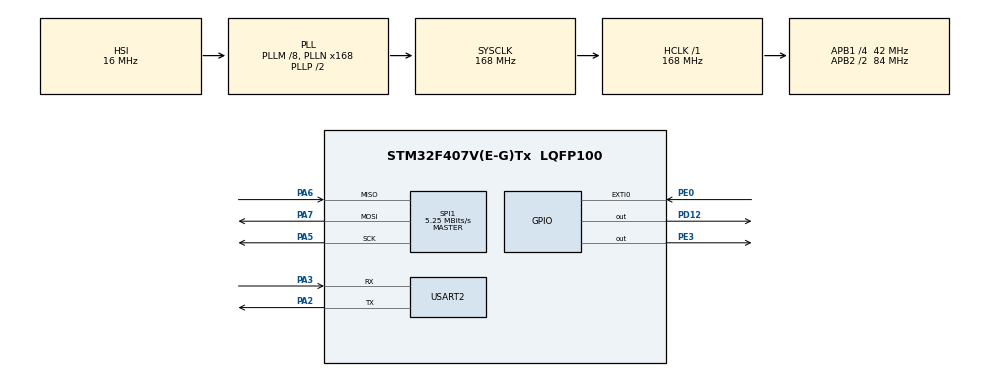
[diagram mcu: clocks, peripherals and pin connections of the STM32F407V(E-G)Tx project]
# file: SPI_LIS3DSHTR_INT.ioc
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Mcu.Family=STM32F4
Mcu.Name=STM32F407V(E-G)Tx
Mcu.Package=LQFP100
NVIC.EXTI0_IRQn=true\:0\:0\:false\:false\:true\:true\:true\:true
NVIC.PriorityGroup=NVIC_PRIORITYGROUP_4
PA2.Mode=Asynchronous
PA2.Signal=USART2_TX
PA3.Mode=Asynchronous
PA3.Signal=USART2_RX
PA5.Mode=Full_Duplex_Master
PA5.Signal=SPI1_SCK
PA6.Mode=Full_Duplex_Master
PA6.Signal=SPI1_MISO
PA7.Mode=Full_Duplex_Master
PA7.Signal=SPI1_MOSI
PD12.Signal=GPIO_Output
PE0.Signal=GPXTI0
PE3.Signal=GPIO_Output
ProjectManager.HeapSize=0x200
ProjectManager.StackSize=0x400
ProjectManager.TargetToolchain=STM32CubeIDE
RCC.48MHZClocksFreq_Value=84000000
RCC.AHBFreq_Value=168000000
RCC.APB1CLKDivider=RCC_HCLK_DIV4
RCC.APB1Freq_Value=42000000
RCC.APB1TimFreq_Value=84000000
RCC.APB2CLKDivider=RCC_HCLK_DIV2
RCC.APB2Freq_Value=84000000
RCC.APB2TimFreq_Value=168000000
RCC.CortexFreq_Value=168000000
RCC.HCLKFreq_Value=168000000
RCC.HSE_VALUE=25000000
RCC.HSI_VALUE=16000000
RCC.LSE_VALUE=32768
RCC.PLLM=8
RCC.PLLN=168
RCC.SYSCLKFreq_VALUE=168000000
RCC.SYSCLKSource=RCC_SYSCLKSOURCE_PLLCLK
RCC.VCOOutputFreq_Value=336000000
SPI1.BaudRatePrescaler=SPI_BAUDRATEPRESCALER_16
SPI1.CLKPhase=SPI_PHASE_2EDGE
SPI1.CLKPolarity=SPI_POLARITY_HIGH
SPI1.CalculateBaudRate=5.25 MBits/s
SPI1.Direction=SPI_DIRECTION_2LINES
SPI1.Mode=SPI_MODE_MASTER
SPI1.VirtualType=VM_MASTER
USART2.VirtualMode=VM_ASYNC
board=custom

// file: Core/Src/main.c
/* USER CODE BEGIN Header */
/**
  ******************************************************************************
  * @file           : main.c
  * @brief          : Main program body
  ******************************************************************************
  * @attention
  *
  * Copyright (c) 2026 STMicroelectronics.
  * All rights reserved.
  *
  * This software is licensed under terms that can be found in the LICENSE file
  * in the root directory of this software component.
  * If no LICENSE file comes with this software, it is provided AS-IS.
  *
  ******************************************************************************
  */
/* USER CODE END Header */
#include "main.h"

/* USER CODE BEGIN Includes */
#include <LIS3DSHTR.h>
#include <stdio.h>
/* USER CODE END Includes */

SPI_HandleTypeDef hspi1;

UART_HandleTypeDef huart2;

/* USER CODE BEGIN PV */
volatile uint8_t data_ready = 0;
/* USER CODE END PV */

void SystemClock_Config(void);
static void MX_GPIO_Init(void);
static void MX_SPI1_Init(void);
static void MX_USART2_UART_Init(void);

int main(void)
{

  /* MCU Configuration--------------------------------------------------------*/

  /* Reset of all peripherals, Initializes the Flash interface and the Systick. */
  HAL_Init();

  /* Configure the system clock */
  SystemClock_Config();

  /* Initialize all configured peripherals */
  MX_GPIO_Init();
  MX_SPI1_Init();
  MX_USART2_UART_Init();
  /* USER CODE BEGIN 2 */

  LIS3_HandleTypeDef hlis;
  hlis.hspi    = &hspi1;
  hlis.cs_port = GPIOE;
  hlis.cs_pin  = GPIO_PIN_3;

  LIS3_DataTypeDef data;

  LIS3_Init(&hlis);                    // CTRL_REG4 = 0x67, ODR 100Hz
  LIS3_WriteReg(&hlis, LIS3_CTRL_REG3, LIS3_CTRL_REG3_DRDY_INT1);   // CTRL_REG3 = 0xE8, DRDY on INT1
  /* USER CODE END 2 */

  /* Infinite loop */
  while (1)
  {

    /* USER CODE BEGIN 3 */
	  if (data_ready)
	  {
	      data_ready = 0;
	      LIS3_ReadXYZ(&hlis, &data);
	      printf("X: %d  Y: %d  Z: %d\r\n", data.x, data.y, data.z);
	  }
  }
  /* USER CODE END 3 */
}

void SystemClock_Config(void)
{
  RCC_OscInitTypeDef RCC_OscInitStruct = {0};
  RCC_ClkInitTypeDef RCC_ClkInitStruct = {0};

  /** Configure the main internal regulator output voltage
  */
  __HAL_RCC_PWR_CLK_ENABLE();
  __HAL_PWR_VOLTAGESCALING_CONFIG(PWR_REGULATOR_VOLTAGE_SCALE1);

  /** Initializes the RCC Oscillators according to the specified parameters
  * in the RCC_OscInitTypeDef structure.
  */
  RCC_OscInitStruct.OscillatorType = RCC_OSCILLATORTYPE_HSI;
  RCC_OscInitStruct.HSIState = RCC_HSI_ON;
  RCC_OscInitStruct.HSICalibrationValue = RCC_HSICALIBRATION_DEFAULT;
  RCC_OscInitStruct.PLL.PLLState = RCC_PLL_ON;
  RCC_OscInitStruct.PLL.PLLSource = RCC_PLLSOURCE_HSI;
  RCC_OscInitStruct.PLL.PLLM = 8;
  RCC_OscInitStruct.PLL.PLLN = 168;
  RCC_OscInitStruct.PLL.PLLP = RCC_PLLP_DIV2;
  RCC_OscInitStruct.PLL.PLLQ = 4;
  if (HAL_RCC_OscConfig(&RCC_OscInitStruct) != HAL_OK)
  {
    Error_Handler();
  }

  /** Initializes the CPU, AHB and APB buses clocks
  */
  RCC_ClkInitStruct.ClockType = RCC_CLOCKTYPE_HCLK|RCC_CLOCKTYPE_SYSCLK
                              |RCC_CLOCKTYPE_PCLK1|RCC_CLOCKTYPE_PCLK2;
  RCC_ClkInitStruct.SYSCLKSource = RCC_SYSCLKSOURCE_PLLCLK;
  RCC_ClkInitStruct.AHBCLKDivider = RCC_SYSCLK_DIV1;
  RCC_ClkInitStruct.APB1CLKDivider = RCC_HCLK_DIV4;
  RCC_ClkInitStruct.APB2CLKDivider = RCC_HCLK_DIV2;

  if (HAL_RCC_ClockConfig(&RCC_ClkInitStruct, FLASH_LATENCY_5) != HAL_OK)
  {
    Error_Handler();
  }
}

static void MX_SPI1_Init(void)
{

  /* SPI1 parameter configuration*/
  hspi1.Instance = SPI1;
  hspi1.Init.Mode = SPI_MODE_MASTER;
  hspi1.Init.Direction = SPI_DIRECTION_2LINES;
  hspi1.Init.DataSize = SPI_DATASIZE_8BIT;
  hspi1.Init.CLKPolarity = SPI_POLARITY_HIGH;
  hspi1.Init.CLKPhase = SPI_PHASE_2EDGE;
  hspi1.Init.NSS = SPI_NSS_SOFT;
  hspi1.Init.BaudRatePrescaler = SPI_BAUDRATEPRESCALER_16;
  hspi1.Init.FirstBit = SPI_FIRSTBIT_MSB;
  hspi1.Init.TIMode = SPI_TIMODE_DISABLE;
  hspi1.Init.CRCCalculation = SPI_CRCCALCULATION_DISABLE;
  hspi1.Init.CRCPolynomial = 10;
  if (HAL_SPI_Init(&hspi1) != HAL_OK)
  {
    Error_Handler();
  }

}

static void MX_USART2_UART_Init(void)
{

  huart2.Instance = USART2;
  huart2.Init.BaudRate = 115200;
  huart2.Init.WordLength = UART_WORDLENGTH_8B;
  huart2.Init.StopBits = UART_STOPBITS_1;
  huart2.Init.Parity = UART_PARITY_NONE;
  huart2.Init.Mode = UART_MODE_TX_RX;
  huart2.Init.HwFlowCtl = UART_HWCONTROL_NONE;
  huart2.Init.OverSampling = UART_OVERSAMPLING_16;
  if (HAL_UART_Init(&huart2) != HAL_OK)
  {
    Error_Handler();
  }

}

static void MX_GPIO_Init(void)
{
  GPIO_InitTypeDef GPIO_InitStruct = {0};

  /* GPIO Ports Clock Enable */
  __HAL_RCC_GPIOE_CLK_ENABLE();
  __HAL_RCC_GPIOA_CLK_ENABLE();
  __HAL_RCC_GPIOD_CLK_ENABLE();

  /*Configure GPIO pin Output Level */
  HAL_GPIO_WritePin(GPIOE, GPIO_PIN_3, GPIO_PIN_RESET);

  /*Configure GPIO pin Output Level */
  HAL_GPIO_WritePin(GPIOD, GPIO_PIN_12, GPIO_PIN_RESET);

  /*Configure GPIO pin : PE3 */
  GPIO_InitStruct.Pin = GPIO_PIN_3;
  GPIO_InitStruct.Mode = GPIO_MODE_OUTPUT_PP;
  GPIO_InitStruct.Pull = GPIO_NOPULL;
  GPIO_InitStruct.Speed = GPIO_SPEED_FREQ_LOW;
  HAL_GPIO_Init(GPIOE, &GPIO_InitStruct);

  /*Configure GPIO pin : PD12 */
  GPIO_InitStruct.Pin = GPIO_PIN_12;
  GPIO_InitStruct.Mode = GPIO_MODE_OUTPUT_PP;
  GPIO_InitStruct.Pull = GPIO_NOPULL;
  GPIO_InitStruct.Speed = GPIO_SPEED_FREQ_LOW;
  HAL_GPIO_Init(GPIOD, &GPIO_InitStruct);

  /*Configure GPIO pin : PE0 */
  GPIO_InitStruct.Pin = GPIO_PIN_0;
  GPIO_InitStruct.Mode = GPIO_MODE_IT_RISING;
  GPIO_InitStruct.Pull = GPIO_NOPULL;
  HAL_GPIO_Init(GPIOE, &GPIO_InitStruct);

  /* EXTI interrupt init*/
  HAL_NVIC_SetPriority(EXTI0_IRQn, 0, 0);
  HAL_NVIC_EnableIRQ(EXTI0_IRQn);

}

/* USER CODE BEGIN 4 */
void HAL_GPIO_EXTI_Callback(uint16_t GPIO_Pin)
{
    if (GPIO_Pin == GPIO_PIN_0)
    {
    	data_ready = 1;
    }
}

int _write(int file, char *ptr, int len)
  {
      HAL_UART_Transmit(&huart2, (uint8_t*)ptr, len, HAL_MAX_DELAY);
      return len;
  }
/* USER CODE END 4 */

void Error_Handler(void)
{
  __disable_irq();
  while (1)
  {
  }
}
